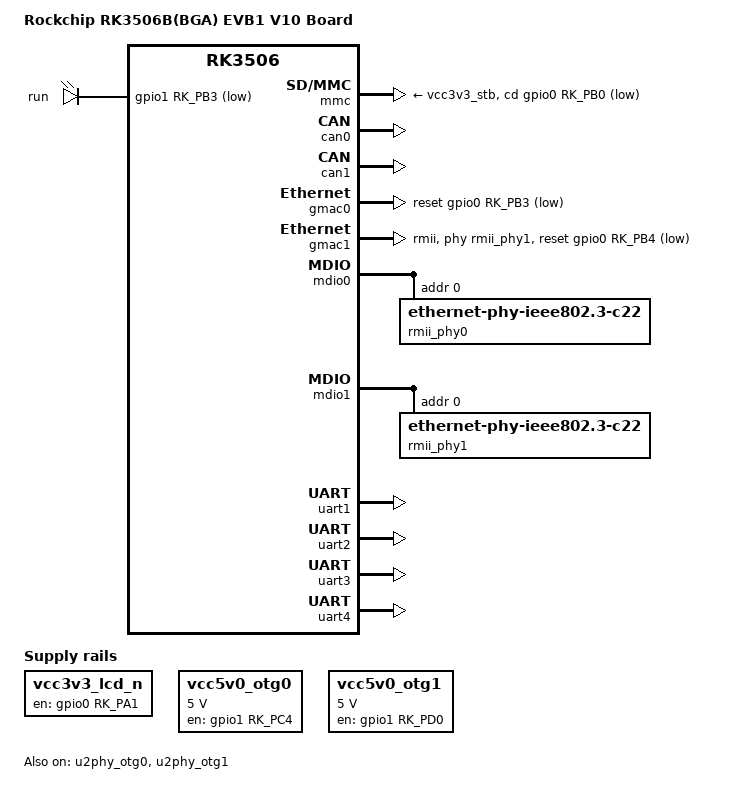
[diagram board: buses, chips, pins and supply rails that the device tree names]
// SPDX-License-Identifier: (GPL-2.0+ OR MIT)
/*
 * Copyright (c) 2024 Rockchip Electronics Co., Ltd.
 */

/dts-v1/;

#include "rk3506.dtsi"
#include "rk3506-evb1-v10.dtsi"

/ {
	model = "Rockchip RK3506B(BGA) EVB1 V10 Board";
	compatible = "rockchip,rk3506b-evb1-v10", "rockchip,rk3506";

	chosen {
		bootargs = "earlycon=uart8250,mmio32,0xff0a0000 console=ttyFIQ0 ubi.mtd=2 root=ubi0:rootfs rw rootfstype=ubifs rootwait snd_aloop.index=7 snd_aloop.use_raw_jiffies=1";
	};

	vcc3v3_lcd_n: vcc3v3-lcd0-n {
		compatible = "regulator-fixed";
		enable-active-high;
		gpio = <&gpio0 RK_PA1 GPIO_ACTIVE_HIGH>;
		regulator-name = "vcc3v3_lcd_n";
		regulator-boot-on;
		regulator-state-mem {
			regulator-off-in-suspend;
		};
	};

	vcc5v0_otg0: vcc5v0-otg0-regulator {
		compatible = "regulator-fixed";
		regulator-name = "vcc5v0_otg0";
		regulator-min-microvolt = <5000000>;
		regulator-max-microvolt = <5000000>;
		enable-active-high;
		gpio = <&gpio1 RK_PC4 GPIO_ACTIVE_HIGH>;
		pinctrl-names = "default";
		pinctrl-0 = <&vcc5v0_otg0_en>;
	};

	vcc5v0_otg1: vcc5v0-otg1-regulator {
		compatible = "regulator-fixed";
		regulator-name = "vcc5v0_otg1";
		regulator-boot-on;
		regulator-always-on;
		regulator-min-microvolt = <5000000>;
		regulator-max-microvolt = <5000000>;
		enable-active-high;
		gpio = <&gpio1 RK_PD0 GPIO_ACTIVE_HIGH>;
		pinctrl-names = "default";
		pinctrl-0 = <&vcc5v0_otg1_en>;
	};

	leds {
		compatible = "gpio-leds";
		status = "okay";
		heart_led {
			label = "run";
			gpios = <&gpio1 RK_PB3 GPIO_ACTIVE_LOW>;
			linux,default-trigger = "heartbeat";
			default-state = "off";
		};
	};

	wireless-bluetooth {
		status = "disabled";
	};

	wireless-wlan {
		status = "disabled";
	};
};

&cma {
	size = <0x1600000>;
};

&dsi {
	status = "disabled";
};

&dsi_dphy {
	status = "disabled";
};

&dsi_in_vop {
	status = "disabled";
};

&dsi_panel {
	power-supply = <&vcc3v3_lcd_n>;
};

&es8388 {
	status = "disabled";
};

&gt1x {
	power-supply = <&vcc3v3_lcd_n>;
	status = "disabled";
};

&pinctrl {
	usb {
		vcc5v0_otg0_en: vcc5v0-otg0-en {
			rockchip,pins = <1 RK_PC4 RK_FUNC_GPIO &pcfg_pull_none>;
		};

		vcc5v0_otg1_en: vcc5v0-otg1-en {
			rockchip,pins = <1 RK_PD0 RK_FUNC_GPIO &pcfg_pull_none>;
		};
	};
};

&route_dsi {
	status = "disabled";
};

&sai1 {
	status = "disabled";
};

&u2phy_otg0 {
	vbus-supply = <&vcc5v0_otg0>;
	status = "okay";
};

&u2phy_otg1 {
	phy-supply = <&vcc5v0_otg1>;
	status = "okay";
};

/* added */
&acodec_sound {
	status = "disabled";
};

&adc_keys {
	status = "disabled";
};

&backlight {
	status = "disabled";
};

&fiq_debugger {
	rockchip,baudrate = <115200>;	/* Only 115200 and 1500000 */
};

&gpio_keys {
	status = "disabled";
};

&mmc {
	supports-sd;
	cd-gpios = <&gpio0 RK_PB0 GPIO_ACTIVE_LOW>;
	disable-wp;
	vmmc-supply = <&vcc3v3_stb>;
	vqmmc-supply = <&vcc3v3_stb>;
	pinctrl-0 = <&sdmmc_clk_pins &sdmmc_cmd_pins &sdmmc_bus4_pins &sdmmc_det_pins>;

	/delete-property/ no-sd;
	/delete-property/ no-mmc;
	/delete-property/ ignore-pm-notify;
	/delete-property/ keep-power-in-suspend;
	/delete-property/ non-removable;
	/delete-property/ mmc-pwrseq;
	/delete-property/ sd-uhs-sdr104;
};

&sdio_pwrseq {
	status = "disabled";
};

&audio_codec {
	status = "disabled";
};

&i2c0 {
	status = "disabled";
};

&pwm0_4ch_0 {
	status = "disabled";
};

&pwm0_4ch_1 {
	status = "disabled";
};

&pwm0_4ch_2 {
	status = "disabled";
};

&rga2 {
	status = "disabled";
};

&rng {
	status = "disabled";
};

&rockchip_suspend {
	status = "disabled";
};

&sai4 {
	status = "disabled";
};

&can0 {
	rockchip,rx-max-data = <18>;
	pinctrl-0 = <&rm_io19_can0_tx &rm_io20_can0_rx>;
	pinctrl-names = "default";
	status = "okay";
};

&can1 {
	rockchip,rx-max-data = <18>;
	pinctrl-0 = <&rm_io13_can1_tx &rm_io18_can1_rx>;
	pinctrl-names = "default";
	status = "okay";
};

&display_subsystem {
	status = "disabled";
};

&gmac0 {
	clock_in_out = "input";
	snps,reset-gpio = <&gpio0 RK_PB3 GPIO_ACTIVE_LOW>;
};

&gmac1 {
	phy-mode = "rmii";
	clock_in_out = "input";

	snps,reset-gpio = <&gpio0 RK_PB4 GPIO_ACTIVE_LOW>;
	snps,reset-active-low;
	snps,reset-delays-us = <0 20000 100000>;

	pinctrl-names = "default";
	pinctrl-0 = <&eth_rmii1_miim_pins
		     &eth_rmii1_tx_bus2_pins
		     &eth_rmii1_rx_bus2_pins
		     &eth_rmii1_clk_pins>;

	phy-handle = <&rmii_phy1>;
	status = "okay";
};

&i2c2 {
	status = "disabled";
};

/delete-node/ &rmii_phy0;

&mdio0 {
	rmii_phy0: phy@0 {
		compatible = "ethernet-phy-ieee802.3-c22";
		reg = <0x0>;
		clocks = <&cru CLK_MAC_OUT>;
		assigned-clocks = <&cru CLK_MAC_OUT>;
		assigned-clock-rates = <25000000>;
	};
};

&mdio1 {
	rmii_phy1: phy@0 {
		compatible = "ethernet-phy-ieee802.3-c22";
		reg = <0x0>;
		clocks = <&cru CLK_MAC_OUT>;
		assigned-clocks = <&cru CLK_MAC_OUT>;
		assigned-clock-rates = <25000000>;
	};
};

&vop {
	status = "disabled";
};

&uart1 {
	pinctrl-names = "default";
	pinctrl-0 = <&rm_io16_uart1_rx &rm_io17_uart1_tx>;
	status = "okay";
};

&uart2 {
	pinctrl-names = "default";
	pinctrl-0 = <&rm_io0_uart2_rx &rm_io2_uart2_tx>;
	status = "okay";
};

&uart3 {
	pinctrl-names = "default";
	pinctrl-0 = <&rm_io15_uart3_rx &rm_io14_uart3_tx>;
	status = "okay";
};

&uart4 {
	pinctrl-names = "default";
	pinctrl-0 = <&rm_io30_uart4_rx &rm_io31_uart4_tx>;
	status = "okay";
};

&uart5 {
        status = "disabled";
};
